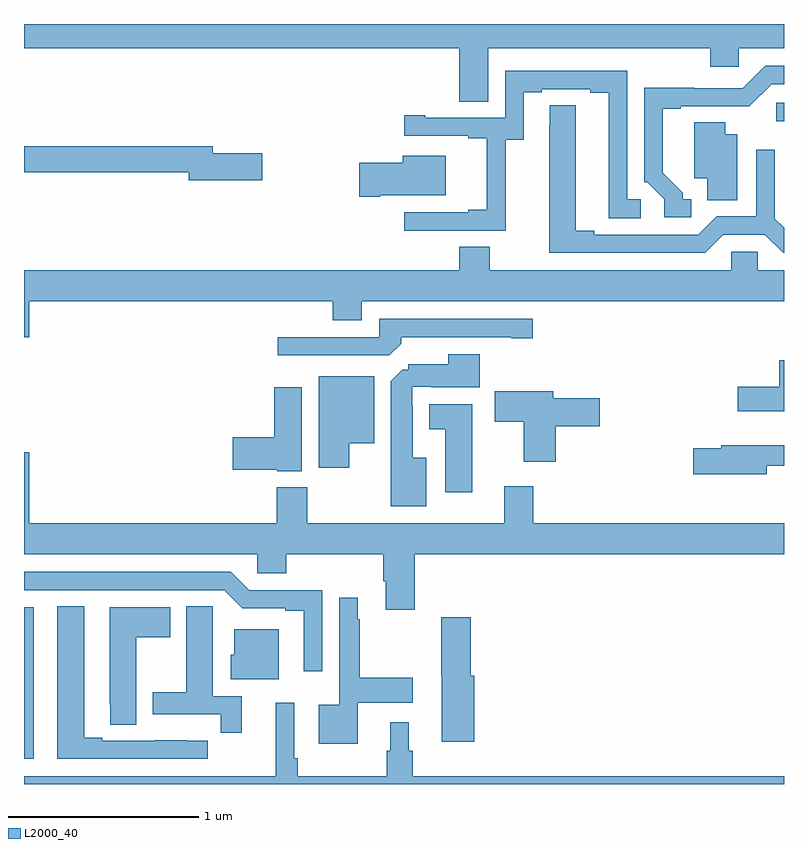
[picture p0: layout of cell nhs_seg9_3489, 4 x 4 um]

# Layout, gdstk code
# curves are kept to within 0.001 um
import gdstk
lib = gdstk.Library(unit=1e-6, precision=1e-09)
def R(c, l, rs):  # rectangles x0, y0, x1, y1
    for r in rs: c.add(gdstk.rectangle(r[:2], r[2:], *l))
def P(c, l, *ps):  # polygons
    for p in ps: c.add(gdstk.Polygon(p, *l))
L2000_40 = (2000, 40)

nhs_seg9_3489 = lib.new_cell('nhs_seg9_3489')
R(nhs_seg9_3489, L2000_40, [(309,1240.632,309.052,1241.43), (312.96,1243.988,313,1244.085)])
P(nhs_seg9_3489, L2000_40, [(311.443,1244.372),(312.611,1244.372),(312.611,1244.274),(312.762,1244.274),(312.762,1244.372),(313,1244.372),(313,1244.5),(309,1244.5),(309,1244.372),(311.291,1244.372),(311.291,1244.092),(311.443,1244.092)],
  [(312.511,1243.578),(312.466,1243.578),(312.466,1243.613),(312.361,1243.718),(312.361,1244.055),(312.457,1244.055),(312.457,1244.067),(312.818,1244.066),(312.936,1244.184),(313,1244.184),(313,1244.28),(312.9,1244.28),(312.783,1244.163),(312.527,1244.163),(312.527,1244.165),(312.264,1244.165),(312.264,1243.668),(312.279,1243.668),(312.369,1243.578),(312.369,1243.482),(312.511,1243.482)],
  [(311.535,1243.891),(311.629,1243.891),(311.629,1244.142),(311.725,1244.142),(311.725,1244.157),(311.981,1244.157),(311.981,1244.137),(312.077,1244.137),(312.077,1243.477),(312.247,1243.477),(312.247,1243.578),(312.174,1243.578),(312.174,1244.253),(311.532,1244.253),(311.532,1244.007),(311.113,1244.007),(311.113,1244.02),(311.001,1244.02),(311.001,1243.911),(311.339,1243.911),(311.339,1243.899),(311.435,1243.899),(311.435,1243.522),(311.339,1243.522),(311.339,1243.509),(311.001,1243.509),(311.001,1243.413),(311.535,1243.413)],
  [(312.681,1243.392),(312.899,1243.392),(312.995,1243.296),(313,1243.296),(313,1243.427),(312.951,1243.476),(312.951,1243.837),(312.855,1243.837),(312.855,1243.488),(312.645,1243.488),(312.549,1243.392),(312.001,1243.392),(312.001,1243.412),(311.905,1243.412),(311.905,1244.072),(311.766,1244.072),(311.765,1243.296),(312.585,1243.296)],
  [(312.754,1243.921),(312.691,1243.921),(312.691,1243.982),(312.527,1243.982),(312.527,1243.688),(312.596,1243.688),(312.596,1243.573),(312.754,1243.573)],
  [(310.255,1243.82),(309.994,1243.82),(309.994,1243.856),(309,1243.856),(309,1243.72),(309.866,1243.72),(309.866,1243.678),(310.255,1243.678)],
  [(310.876,1243.598),(311.221,1243.598),(311.221,1243.807),(310.994,1243.807),(310.994,1243.769),(310.764,1243.769),(310.764,1243.591),(310.876,1243.591)],
  [(309.028,1243.04),(310.625,1243.04),(310.625,1242.941),(310.777,1242.941),(310.777,1243.04),(313,1243.04),(313,1243.204),(312.861,1243.204),(312.861,1243.302),(312.723,1243.302),(312.723,1243.204),(311.451,1243.204),(311.451,1243.328),(311.291,1243.328),(311.291,1243.204),(309,1243.204),(309,1242.852),(309.028,1242.852)],
  [(310.985,1242.818),(310.985,1242.852),(311.564,1242.852),(311.564,1242.847),(311.677,1242.847),(311.677,1242.948),(310.869,1242.948),(310.869,1242.852),(310.335,1242.852),(310.335,1242.756),(310.923,1242.756)],
  [(311.116,1242.217),(311.047,1242.217),(311.047,1242.491),(311.043,1242.491),(311.043,1242.591),(311.143,1242.591),(311.143,1242.587),(311.398,1242.587),(311.398,1242.763),(311.234,1242.763),(311.234,1242.709),(311.022,1242.709),(311.022,1242.681),(310.991,1242.681),(310.931,1242.621),(310.931,1241.963),(311.116,1241.963)],
  [(313,1242.73),(312.974,1242.73),(312.974,1242.591),(312.756,1242.591),(312.756,1242.461),(313,1242.461)],
  [(310.711,1242.293),(310.843,1242.293),(310.843,1242.646),(310.55,1242.646),(310.55,1242.165),(310.711,1242.165)],
  [(310.462,1242.589),(310.316,1242.589),(310.316,1242.326),(310.098,1242.326),(310.098,1242.155),(310.332,1242.155),(310.332,1242.146),(310.462,1242.146)],
  [(311.798,1242.383),(312.031,1242.383),(312.031,1242.53),(311.785,1242.53),(311.785,1242.568),(311.478,1242.568),(311.478,1242.406),(311.63,1242.406),(311.63,1242.195),(311.798,1242.195)],
  [(311.359,1242.499),(311.132,1242.499),(311.132,1242.368),(311.216,1242.368),(311.216,1242.036),(311.359,1242.036)],
  [(312.91,1242.174),(313,1242.174),(313,1242.283),(312.671,1242.283),(312.671,1242.266),(312.522,1242.266),(312.522,1242.131),(312.91,1242.131)],
  [(311.057,1241.708),(313,1241.708),(313,1241.872),(311.681,1241.872),(311.681,1242.067),(311.528,1242.067),(311.528,1241.872),(310.491,1241.872),(310.491,1242.061),(310.331,1242.061),(310.331,1241.872),(309.028,1241.872),(309.028,1242.247),(309,1242.247),(309,1241.708),(310.227,1241.708),(310.227,1241.61),(310.379,1241.61),(310.379,1241.708),(310.892,1241.708),(310.892,1241.566),(310.904,1241.566),(310.904,1241.418),(311.057,1241.418)],
  [(310.569,1241.52),(310.185,1241.52),(310.089,1241.616),(309,1241.616),(309,1241.52),(310.053,1241.52),(310.149,1241.424),(310.376,1241.424),(310.376,1241.412),(310.472,1241.412),(310.472,1241.094),(310.569,1241.094)],
  [(310.756,1240.928),(311.047,1240.928),(311.047,1241.058),(310.768,1241.058),(310.768,1241.366),(310.756,1241.366),(310.756,1241.479),(310.659,1241.479),(310.659,1240.918),(310.55,1240.918),(310.55,1240.712),(310.756,1240.712)],
  [(309.967,1240.728),(309.854,1240.728),(309.854,1240.729),(309.688,1240.729),(309.688,1240.728),(309.412,1240.728),(309.412,1240.743),(309.316,1240.743),(309.316,1241.435),(309.176,1241.435),(309.176,1240.632),(309.967,1240.632)],
  [(310.145,1240.962),(309.994,1240.962),(309.994,1241.324),(309.993,1241.324),(309.993,1241.435),(309.854,1241.435),(309.854,1240.983),(309.677,1240.983),(309.677,1240.866),(310.036,1240.866),(310.036,1240.77),(310.145,1240.77)],
  [(309.592,1241.272),(309.769,1241.272),(309.769,1241.431),(309.452,1241.431),(309.452,1240.921),(309.453,1240.921),(309.453,1240.813),(309.592,1240.813)],
  [(311.369,1241.07),(311.351,1241.07),(311.351,1241.377),(311.197,1241.377),(311.197,1241.07),(311.198,1241.07),(311.198,1240.722),(311.369,1240.722)],
  [(310.342,1241.314),(310.106,1241.314),(310.106,1241.181),(310.088,1241.181),(310.088,1241.051),(310.342,1241.051)],
  [(313,1240.54),(311.045,1240.54),(311.045,1240.674),(311.026,1240.674),(311.026,1240.825),(310.928,1240.825),(310.928,1240.674),(310.909,1240.674),(310.909,1240.54),(310.442,1240.54),(310.442,1240.636),(310.422,1240.636),(310.422,1240.927),(310.325,1240.927),(310.325,1240.54),(309,1240.54),(309,1240.5),(313,1240.5)])

lib.write_gds('nhs_seg9_3489.gds')
